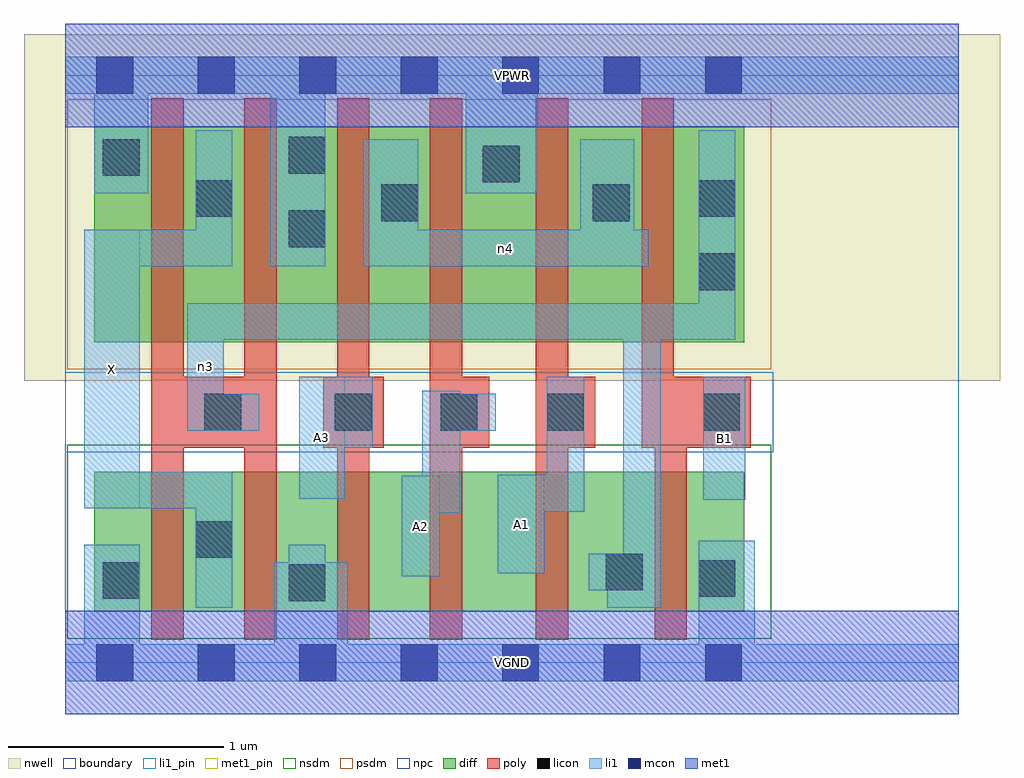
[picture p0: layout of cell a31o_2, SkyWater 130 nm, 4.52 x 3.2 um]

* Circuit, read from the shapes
.subckt a31o_2 A1 A2 A3 B1 VGND VPWR X n3 n4
XM1 X n3 VGND VSUBS sky130_fd_pr__nfet_01v8 w=0.65 l=0.15 m=2
XM2 n1 A3 VGND VSUBS sky130_fd_pr__nfet_01v8 w=0.65 l=0.15
XM3 n2 A2 n1 VSUBS sky130_fd_pr__nfet_01v8 w=0.65 l=0.15
XM4 n3 A1 n2 VSUBS sky130_fd_pr__nfet_01v8 w=0.65 l=0.15
XM5 VGND B1 n3 VSUBS sky130_fd_pr__nfet_01v8 w=0.65 l=0.15
XM6 X n3 VPWR n5 sky130_fd_pr__pfet_01v8 w=1 l=0.15 m=2
XM7 n4 A3 VPWR n5 sky130_fd_pr__pfet_01v8 w=1 l=0.15
XM8 VPWR A2 n4 n5 sky130_fd_pr__pfet_01v8 w=1 l=0.15
XM9 n4 A1 VPWR n5 sky130_fd_pr__pfet_01v8 w=1 l=0.15
XM10 n3 B1 n4 n5 sky130_fd_pr__pfet_01v8 w=1 l=0.15
.ends

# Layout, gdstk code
import gdstk
lib = gdstk.Library(unit=1e-6, precision=1e-09)
def R(c, l, rs):  # rectangles x0, y0, x1, y1
    for r in rs: c.add(gdstk.rectangle(r[:2], r[2:], *l))
def A(c, l, x, y, w, h, nx, ny, dx, dy):  # array of equal rectangles
    R(c, l, [(x+i*dx, y+j*dy, x+i*dx+w, y+j*dy+h) for i in range(nx) for j in range(ny)])
nwell = (64, 20)
diff = (65, 20)
poly = (66, 20)
licon = (66, 44)
li1_pin = (67, 16)
li1 = (67, 20)
mcon = (67, 44)
met1_pin = (68, 16)
met1 = (68, 20)
nsdm = (93, 44)
psdm = (94, 20)
npc = (95, 20)
boundary = (235, 4)

a31o_2 = lib.new_cell('a31o_2')
R(a31o_2, nwell, [(-0.19,1.305,4.33,2.91), (0,1.305,4.14,2.91)])
R(a31o_2, diff, [(0.135,0.235,3.145,0.885), (0.135,1.485,3.145,2.485)])
A(a31o_2, poly, 0.4, 0.105, 0.15, 2.51, 4, 1, 0.43, 0)
R(a31o_2, poly, [(2.18,0.105,2.33,2.615), (2.73,0.105,2.88,1.325), (0.4,0.995,0.98,1.325), (1.195,0.995,1.475,1.325), (1.69,0.995,1.965,1.325), (2.18,0.995,2.455,1.325), (2.67,0.995,2.82,2.615), (2.67,0.995,3.175,1.325)])
A(a31o_2, licon, 1.25, 1.075, 0.17, 0.17, 3, 1, 0.49, 0)
R(a31o_2, licon, [(1.035,0.285,1.205,0.455), (0.175,0.295,0.345,0.465), (2.935,0.305,3.105,0.475), (2.505,0.335,2.675,0.505), (0.605,0.485,0.775,0.655), (0.645,1.075,0.815,1.245), (2.955,1.075,3.125,1.245), (2.935,1.725,3.105,1.895), (1.035,1.925,1.205,2.095), (1.465,2.045,1.635,2.215), (2.445,2.045,2.615,2.215), (0.605,2.065,0.775,2.235), (2.935,2.065,3.105,2.235), (1.935,2.225,2.105,2.395), (0.175,2.255,0.345,2.425), (1.035,2.265,1.205,2.435)])
R(a31o_2, li1_pin, [(1.56,0.4,1.735,0.865), (2.005,0.415,2.22,0.87), (0.09,0.715,0.345,2.005), (2.955,0.755,3.15,1.325), (1.085,0.76,1.295,1.325)])
R(a31o_2, li1, [(0,-0.085,4.14,0.085), (0.09,-0.085,0.345,0.545), (0.97,-0.085,1.31,0.465), (1.035,-0.085,1.205,0.545), (2.935,-0.085,3.195,0.565), (0.605,0.255,0.775,0.885), (2.51,0.255,2.76,0.505), (2.585,0.255,2.76,1.665), (2.425,0.335,2.76,0.505), (1.56,0.4,1.735,0.865), (2.005,0.415,2.22,0.87), (1.655,0.695,1.83,1.26), (2.005,0.7,2.405,0.87), (2.23,0.7,2.405,1.325), (0.09,0.715,0.345,2.005), (0.09,0.715,0.775,0.885), (2.955,0.755,3.15,1.325), (1.085,0.76,1.295,1.325), (1.085,0.995,1.425,1.325), (0.565,1.075,0.735,1.665), (0.565,1.075,0.9,1.245), (1.655,1.075,1.995,1.245), (0.565,1.495,3.105,1.665), (2.935,1.495,3.105,2.465), (0.09,1.835,0.775,2.005), (0.605,1.835,0.775,2.465), (0.95,1.835,1.205,2.805), (1.38,1.835,2.7,2.005), (1.38,1.835,1.635,2.425), (2.385,1.835,2.635,2.425), (0.135,2.175,0.385,2.805), (1.855,2.175,2.19,2.805), (0,2.635,4.14,2.805)])
A(a31o_2, mcon, 0.145, -0.085, 0.17, 0.17, 7, 2, 0.47, 2.72)
R(a31o_2, met1_pin, [(0,-0.24,4.14,0.24), (0,2.48,4.14,2.96)])
R(a31o_2, met1, [(0,-0.24,4.14,0.24), (0,2.48,4.14,2.96)])
R(a31o_2, nsdm, [(0.01,0.11,3.27,1.01)])
R(a31o_2, psdm, [(0.01,1.36,3.27,2.61)])
R(a31o_2, npc, [(0,0.975,3.28,1.345)])
R(a31o_2, boundary, [(0,0,4.14,2.72)])
a31o_2.add(gdstk.Label('A1', (2.112,0.642), layer=67, texttype=5))
a31o_2.add(gdstk.Label('A2', (1.647,0.632), layer=67, texttype=5))
a31o_2.add(gdstk.Label('A3', (1.19,1.042), layer=67, texttype=5))
a31o_2.add(gdstk.Label('B1', (3.052,1.04), layer=67, texttype=5))
a31o_2.add(gdstk.Label('X', (0.217,1.36), layer=67, texttype=5))
a31o_2.add(gdstk.Label('n4', (2.04,1.92), layer=67, texttype=5))
a31o_2.add(gdstk.Label('n3', (0.65,1.37), layer=67, texttype=5))
a31o_2.add(gdstk.Label('VPWR', (2.07,2.72), layer=68, texttype=5))
a31o_2.add(gdstk.Label('VGND', (2.07,0), layer=68, texttype=5))
a31o_2.add(gdstk.Label('A1', (2.112,0.642), layer=67, texttype=16))
a31o_2.add(gdstk.Label('A2', (1.647,0.632), layer=67, texttype=16))
a31o_2.add(gdstk.Label('A3', (1.19,1.042), layer=67, texttype=16))
a31o_2.add(gdstk.Label('B1', (3.052,1.04), layer=67, texttype=16))
a31o_2.add(gdstk.Label('X', (0.217,1.36), layer=67, texttype=16))
a31o_2.add(gdstk.Label('VPWR', (2.07,2.72), layer=68, texttype=16))
a31o_2.add(gdstk.Label('VGND', (2.07,0), layer=68, texttype=16))

lib.write_gds('a31o_2.gds')
